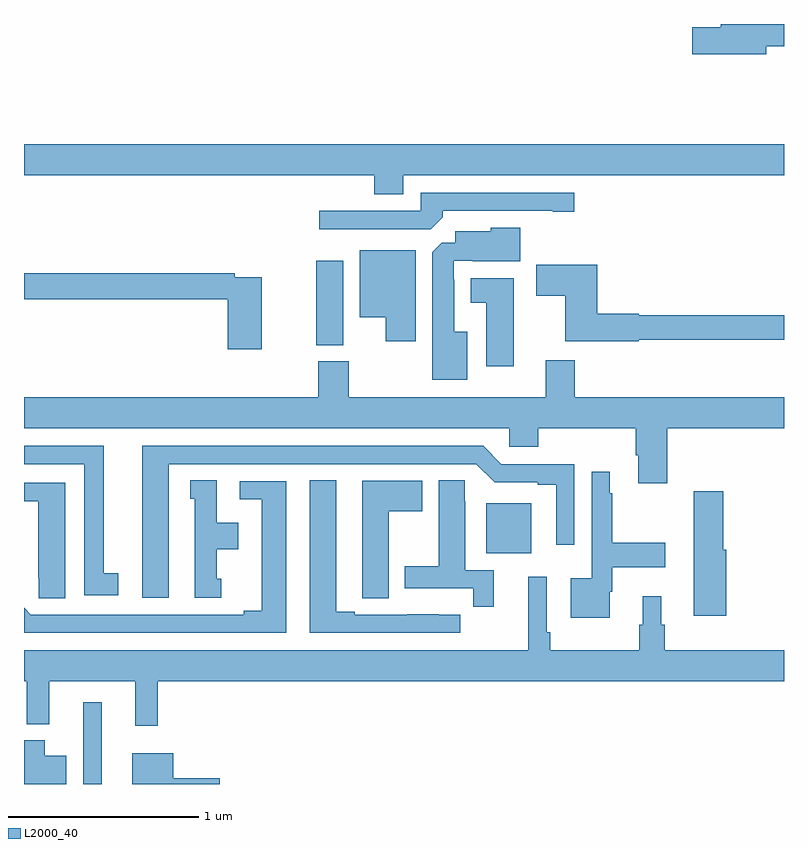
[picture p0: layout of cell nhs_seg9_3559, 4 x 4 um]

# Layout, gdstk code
import gdstk
lib = gdstk.Library(unit=1e-6, precision=1e-09)
def R(c, l, rs):  # rectangles x0, y0, x1, y1
    for r in rs: c.add(gdstk.rectangle(r[:2], r[2:], *l))
def P(c, l, *ps):  # polygons
    for p in ps: c.add(gdstk.Polygon(p, *l))
L2000_40 = (2000, 40)

nhs_seg9_3559 = lib.new_cell('nhs_seg9_3559')
R(nhs_seg9_3559, L2000_40, [(313.311,1242.5,313.408,1242.931), (315.434,1243.715,315.67,1243.978), (314.539,1244.809,314.68,1245.253)])
P(nhs_seg9_3559, L2000_40, [(316.906,1246.384),(317,1246.384),(317,1246.5),(316.667,1246.5),(316.667,1246.484),(316.518,1246.484),(316.518,1246.342),(316.906,1246.342)],
  [(314.995,1245.704),(317,1245.704),(317,1245.868),(313,1245.868),(313,1245.704),(314.843,1245.704),(314.843,1245.605),(314.995,1245.605)],
  [(315.203,1245.482),(315.203,1245.516),(315.782,1245.516),(315.782,1245.511),(315.895,1245.511),(315.895,1245.612),(315.087,1245.612),(315.087,1245.516),(314.553,1245.516),(314.553,1245.42),(315.141,1245.42)],
  [(315.334,1244.881),(315.265,1244.881),(315.265,1245.155),(315.261,1245.155),(315.261,1245.255),(315.361,1245.255),(315.361,1245.251),(315.613,1245.251),(315.613,1245.427),(315.456,1245.427),(315.456,1245.409),(315.269,1245.409),(315.269,1245.348),(315.198,1245.348),(315.149,1245.299),(315.149,1244.627),(315.334,1244.627)],
  [(315.061,1245.31),(314.768,1245.31),(314.768,1244.957),(314.903,1244.957),(314.903,1244.829),(315.061,1244.829)],
  [(316.236,1244.838),(317,1244.838),(317,1244.966),(316.236,1244.966),(316.236,1244.974),(316.016,1244.974),(316.016,1245.232),(315.696,1245.232),(315.696,1245.07),(315.848,1245.07),(315.848,1244.83),(316.236,1244.83)],
  [(314.25,1245.168),(314.108,1245.168),(314.108,1245.188),(313,1245.188),(313,1245.052),(314.072,1245.052),(314.072,1244.787),(314.25,1244.787)],
  [(315.577,1245.163),(315.35,1245.163),(315.35,1245.032),(315.434,1245.032),(315.434,1244.7),(315.577,1244.7)],
  [(316.385,1244.372),(317,1244.372),(317,1244.536),(315.899,1244.536),(315.899,1244.731),(315.746,1244.731),(315.746,1244.536),(314.709,1244.536),(314.709,1244.724),(314.549,1244.724),(314.549,1244.536),(313,1244.536),(313,1244.372),(315.555,1244.372),(315.555,1244.274),(315.707,1244.274),(315.707,1244.372),(316.22,1244.372),(316.22,1244.23),(316.232,1244.23),(316.232,1244.082),(316.385,1244.082)],
  [(313.495,1243.61),(313.42,1243.61),(313.42,1244.28),(313,1244.28),(313,1244.184),(313.316,1244.184),(313.316,1243.494),(313.495,1243.494)],
  [(313.762,1244.184),(315.381,1244.184),(315.477,1244.088),(315.704,1244.088),(315.704,1244.076),(315.8,1244.076),(315.8,1243.758),(315.897,1243.758),(315.897,1244.184),(315.513,1244.184),(315.417,1244.28),(313.622,1244.28),(313.622,1243.479),(313.762,1243.479)],
  [(316.084,1243.512),(316.096,1243.512),(316.096,1243.64),(316.375,1243.64),(316.375,1243.77),(316.096,1243.77),(316.096,1244.03),(316.084,1244.03),(316.084,1244.143),(315.987,1244.143),(315.987,1243.582),(315.878,1243.582),(315.878,1243.376),(316.084,1243.376)],
  [(315.473,1243.626),(315.322,1243.626),(315.322,1243.988),(315.321,1243.988),(315.321,1244.099),(315.182,1244.099),(315.182,1243.647),(315.005,1243.647),(315.005,1243.53),(315.364,1243.53),(315.364,1243.434),(315.473,1243.434)],
  [(314.038,1243.581),(314.014,1243.581),(314.014,1243.736),(314.128,1243.736),(314.128,1243.876),(314.014,1243.876),(314.014,1244.099),(313.874,1244.099),(313.874,1244.001),(313.898,1244.001),(313.898,1243.479),(314.038,1243.479)],
  [(315.295,1243.392),(315.182,1243.392),(315.182,1243.393),(315.016,1243.393),(315.016,1243.392),(314.74,1243.392),(314.74,1243.407),(314.644,1243.407),(314.644,1244.099),(314.504,1244.099),(314.504,1243.296),(315.295,1243.296)],
  [(314.92,1243.936),(315.097,1243.936),(315.097,1244.095),(314.78,1244.095),(314.78,1243.585),(314.781,1243.585),(314.781,1243.477),(314.92,1243.477)],
  [(314.38,1244.094),(314.136,1244.094),(314.136,1243.998),(314.252,1243.998),(314.252,1243.412),(314.156,1243.412),(314.156,1243.392),(313.035,1243.392),(313,1243.427),(313,1243.296),(314.38,1243.296)],
  [(313.216,1244.085),(313,1244.085),(313,1243.988),(313.076,1243.988),(313.076,1243.585),(313.077,1243.585),(313.077,1243.477),(313.216,1243.477)],
  [(316.697,1243.734),(316.679,1243.734),(316.679,1244.041),(316.525,1244.041),(316.525,1243.858),(316.526,1243.858),(316.526,1243.386),(316.697,1243.386)],
  [(313.703,1243.04),(317,1243.04),(317,1243.204),(316.373,1243.204),(316.373,1243.338),(316.354,1243.338),(316.354,1243.489),(316.256,1243.489),(316.256,1243.338),(316.237,1243.338),(316.237,1243.204),(315.77,1243.204),(315.77,1243.3),(315.75,1243.3),(315.75,1243.591),(315.653,1243.591),(315.653,1243.204),(313,1243.204),(313,1243.04),(313.015,1243.04),(313.015,1242.815),(313.133,1242.815),(313.133,1243.04),(313.586,1243.04),(313.586,1242.807),(313.703,1242.807)],
  [(313.222,1242.649),(313.108,1242.649),(313.108,1242.73),(313,1242.73),(313,1242.5),(313.222,1242.5)],
  [(314.029,1242.53),(313.786,1242.53),(313.786,1242.661),(313.571,1242.661),(313.571,1242.5),(314.029,1242.5)])

lib.write_gds('nhs_seg9_3559.gds')
